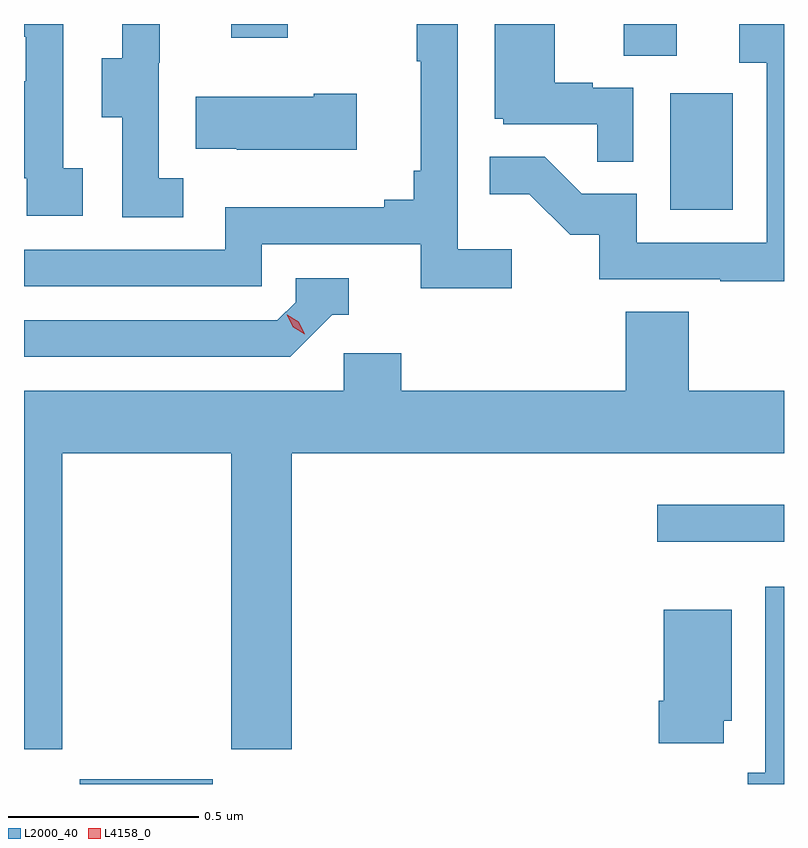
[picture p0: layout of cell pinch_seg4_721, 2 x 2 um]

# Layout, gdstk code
import gdstk
lib = gdstk.Library(unit=1e-6, precision=1e-09)
def R(c, l, rs):  # rectangles x0, y0, x1, y1
    for r in rs: c.add(gdstk.rectangle(r[:2], r[2:], *l))
def P(c, l, *ps):  # polygons
    for p in ps: c.add(gdstk.Polygon(p, *l))
L2000_40 = (2000, 40)
L4158_0 = (4158, 0)

pinch_seg4_721 = lib.new_cell('pinch_seg4_721')
R(pinch_seg4_721, L2000_40, [(889.748,817.261,890.098,817.273), (891.267,817.899,891.601,817.996), (891.302,818.772,891.466,819.079), (891.179,819.178,891.319,819.261), (890.147,819.225,890.295,819.261)])
P(pinch_seg4_721, L2000_40, [(890.02,818.855),(889.956,818.855),(889.956,819.159),(889.958,819.159),(889.958,819.261),(889.859,819.261),(889.859,819.171),(889.805,819.171),(889.805,819.016),(889.86,819.016),(889.86,818.752),(890.02,818.752)],
  [(891.204,819.093),(891.098,819.093),(891.098,819.106),(890.998,819.106),(890.998,819.261),(890.84,819.261),(890.84,819.012),(890.862,819.012),(890.862,818.997),(891.109,818.997),(891.109,818.899),(891.204,818.899)],
  [(891.601,819.261),(891.483,819.261),(891.483,819.159),(891.555,819.159),(891.555,818.685),(891.213,818.685),(891.213,818.814),(891.069,818.814),(890.971,818.912),(890.827,818.912),(890.827,818.813),(890.931,818.813),(891.038,818.706),(891.115,818.706),(891.115,818.589),(891.433,818.589),(891.433,818.584),(891.601,818.584)],
  [(890.884,818.668),(890.742,818.668),(890.742,819.261),(890.634,819.261),(890.634,819.163),(890.645,819.163),(890.645,818.875),(890.626,818.875),(890.626,818.798),(890.549,818.798),(890.549,818.779),(890.13,818.779),(890.13,818.667),(889.601,818.667),(889.601,818.571),(890.226,818.571),(890.226,818.682),(890.645,818.682),(890.645,818.566),(890.884,818.566)],
  [(889.756,818.882),(889.704,818.882),(889.704,819.261),(889.601,819.261),(889.601,819.228),(889.606,819.228),(889.606,819.11),(889.601,819.11),(889.601,818.855),(889.608,818.855),(889.608,818.757),(889.756,818.757)],
  [(890.476,819.078),(890.363,819.078),(890.363,819.07),(890.053,819.07),(890.053,818.933),(890.161,818.933),(890.161,818.93),(890.476,818.93)],
  [(890.412,818.496),(890.455,818.496),(890.455,818.592),(890.316,818.592),(890.316,818.529),(890.268,818.481),(889.601,818.481),(889.601,818.385),(890.301,818.385)],
  [(889.701,818.132),(890.146,818.132),(890.146,817.353),(890.306,817.353),(890.306,818.132),(891.601,818.132),(891.601,818.296),(891.35,818.296),(891.35,818.504),(891.185,818.504),(891.185,818.296),(890.594,818.296),(890.594,818.394),(890.442,818.394),(890.442,818.296),(889.601,818.296),(889.601,817.353),(889.701,817.353)],
  [(891.601,817.78),(891.551,817.78),(891.551,817.29),(891.506,817.29),(891.506,817.261),(891.601,817.261)],
  [(891.442,817.428),(891.463,817.428),(891.463,817.72),(891.284,817.72),(891.284,817.48),(891.272,817.48),(891.272,817.368),(891.442,817.368)])
P(pinch_seg4_721, L4158_0, [(890.34,818.444),(890.309,818.463),(890.293,818.496),(890.293,818.496),(890.294,818.496),(890.324,818.477),(890.34,818.444),(890.34,818.444)])

lib.write_gds('pinch_seg4_721.gds')
